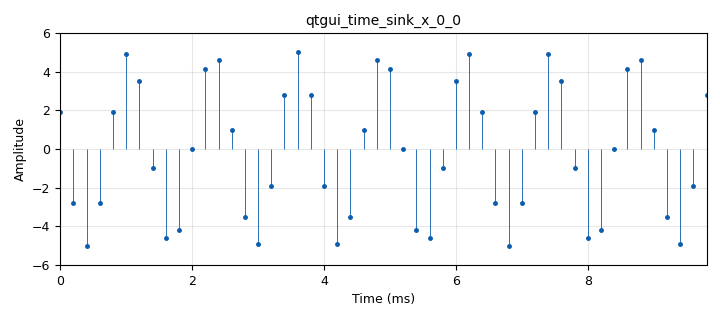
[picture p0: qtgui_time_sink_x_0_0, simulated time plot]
options:
  parameters:
    author: user
    generate_options: qt_gui
    id: Muestreo_fvariable
    output_language: python
    title: Not titled yet
  states: {}

blocks:
- name: F
  id: variable_qtgui_range
  parameters:
    start: '0'
    step: '1000'
    stop: '32000'
    value: '5000'
  states: {}
- name: samp_rate
  id: variable
  parameters:
    value: '32000'
  states: {}
- name: analog_sig_source_x_0_0
  id: analog_sig_source_x
  parameters:
    amp: '5'
    freq: F
    offset: '0'
    phase: '0'
    samp_rate: samp_rate
    type: float
    waveform: analog.GR_COS_WAVE
  states: {}
- name: blocks_throttle_0_0
  id: blocks_throttle
  parameters:
    samples_per_second: samp_rate
    type: float
  states: {}
- name: qtgui_time_sink_x_0_0
  id: qtgui_time_sink_x
  parameters:
    marker1: '0'
    size: '50'
    srate: F
    stemplot: 'True'
    type: float
    ymax: '6'
    ymin: '-6'
  states: {}

connections:
- [analog_sig_source_x_0_0, '0', blocks_throttle_0_0, '0']
- [blocks_throttle_0_0, '0', qtgui_time_sink_x_0_0, '0']

metadata:
  file_format: 1
  grc_version: 3.10.12.0
